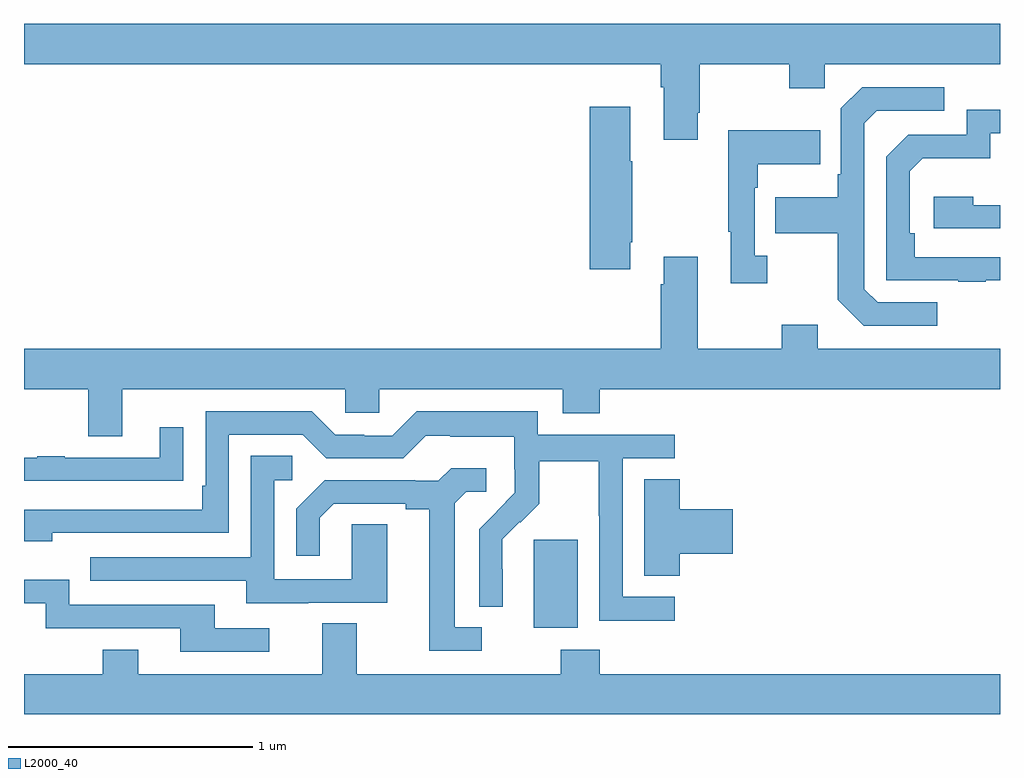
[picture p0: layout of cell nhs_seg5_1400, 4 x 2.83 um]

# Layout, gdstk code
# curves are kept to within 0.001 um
import gdstk
lib = gdstk.Library(unit=1e-6, precision=1e-09)
def R(c, l, rs):  # rectangles x0, y0, x1, y1
    for r in rs: c.add(gdstk.rectangle(r[:2], r[2:], *l))
def P(c, l, *ps):  # polygons
    for p in ps: c.add(gdstk.Polygon(p, *l))
L2000_40 = (2000, 40)

nhs_seg5_1400 = lib.new_cell('nhs_seg5_1400')
R(nhs_seg5_1400, L2000_40, [(197.09,883.754,197.269,884.115)])
P(nhs_seg5_1400, L2000_40, [(195,886.064),(197.609,886.064),(197.609,885.968),(197.621,885.968),(197.621,885.753),(197.761,885.753),(197.761,885.865),(197.769,885.865),(197.769,886.064),(198.136,886.064),(198.136,885.965),(198.282,885.965),(198.282,886.064),(199,886.064),(199,886.228),(195,886.228)],
  [(198.742,885.087),(198.498,885.087),(198.444,885.141),(198.444,885.822),(198.495,885.873),(198.772,885.873),(198.772,885.969),(198.435,885.969),(198.348,885.882),(198.348,885.613),(198.336,885.613),(198.336,885.517),(198.079,885.517),(198.079,885.37),(198.336,885.37),(198.336,885.097),(198.441,884.991),(198.742,884.991)],
  [(197.485,885.334),(197.493,885.334),(197.493,885.665),(197.485,885.665),(197.485,885.889),(197.318,885.889),(197.318,885.222),(197.485,885.222)],
  [(198.941,885.177),(199,885.177),(199,885.273),(198.65,885.273),(198.65,885.37),(198.63,885.37),(198.63,885.624),(198.683,885.677),(198.96,885.677),(198.96,885.78),(199,885.78),(199,885.876),(198.864,885.876),(198.864,885.774),(198.624,885.774),(198.534,885.684),(198.534,885.177),(198.829,885.177),(198.829,885.172),(198.941,885.172)],
  [(198.046,885.278),(197.994,885.278),(197.994,885.557),(198.007,885.557),(198.007,885.653),(198.263,885.653),(198.263,885.793),(197.886,885.793),(197.886,885.377),(197.897,885.377),(197.897,885.165),(198.046,885.165)],
  [(199,885.486),(198.89,885.486),(198.89,885.52),(198.729,885.52),(198.729,885.39),(199,885.39)],
  [(195.403,884.732),(196.317,884.732),(196.317,884.634),(196.455,884.634),(196.455,884.732),(197.207,884.732),(197.207,884.633),(197.36,884.633),(197.36,884.732),(199,884.732),(199,884.896),(198.253,884.896),(198.253,884.995),(198.106,884.995),(198.106,884.896),(197.761,884.896),(197.761,885.274),(197.621,885.274),(197.621,885.161),(197.609,885.161),(197.609,884.896),(195,884.896),(195,884.732),(195.263,884.732),(195.263,884.538),(195.403,884.538)],
  [(197.668,883.881),(197.454,883.881),(197.454,884.448),(197.668,884.448),(197.668,884.544),(197.106,884.544),(197.106,884.641),(196.609,884.641),(196.509,884.541),(196.394,884.541),(196.394,884.544),(196.275,884.544),(196.179,884.64),(195.744,884.64),(195.744,884.335),(195.731,884.335),(195.731,884.238),(195,884.238),(195,884.108),(195.116,884.108),(195.116,884.142),(195.84,884.142),(195.84,884.544),(196.143,884.544),(196.239,884.448),(196.554,884.448),(196.647,884.541),(196.747,884.541),(196.747,884.537),(197.01,884.537),(197.01,884.403),(197.012,884.403),(197.012,884.306),(196.866,884.158),(196.866,883.84),(196.962,883.84),(196.961,884.117),(197.031,884.187),(197.034,884.184),(197.111,884.261),(197.111,884.436),(197.356,884.436),(197.356,884.212),(197.358,884.212),(197.358,883.783),(197.668,883.783)],
  [(195.551,884.356),(195.653,884.356),(195.653,884.575),(195.557,884.575),(195.557,884.451),(195.167,884.451),(195.167,884.456),(195.055,884.456),(195.055,884.451),(195,884.451),(195,884.355),(195.551,884.355)],
  [(196.165,883.857),(196.489,883.857),(196.489,884.177),(196.344,884.177),(196.344,883.953),(196.026,883.953),(196.026,884.358),(196.099,884.358),(196.099,884.459),(195.93,884.459),(195.93,884.043),(195.271,884.043),(195.271,883.947),(195.911,883.947),(195.911,883.853),(196.165,883.853)],
  [(196.876,883.755),(196.765,883.755),(196.765,884.263),(196.812,884.31),(196.894,884.31),(196.894,884.407),(196.75,884.407),(196.698,884.355),(196.604,884.355),(196.604,884.358),(196.232,884.358),(196.116,884.242),(196.116,884.049),(196.213,884.049),(196.213,884.205),(196.27,884.262),(196.565,884.262),(196.565,884.24),(196.661,884.24),(196.661,883.659),(196.876,883.659)],
  [(197.687,884.057),(197.905,884.057),(197.905,884.24),(197.687,884.24),(197.687,884.363),(197.543,884.363),(197.543,883.966),(197.687,883.966)],
  [(196.006,883.752),(195.781,883.752),(195.781,883.848),(195.186,883.848),(195.186,883.951),(195,883.951),(195,883.854),(195.09,883.854),(195.09,883.752),(195.641,883.752),(195.641,883.656),(196.006,883.656)],
  [(199,883.564),(197.36,883.564),(197.36,883.663),(197.2,883.663),(197.2,883.564),(196.363,883.564),(196.363,883.772),(196.223,883.772),(196.223,883.564),(195.469,883.564),(195.469,883.663),(195.322,883.663),(195.322,883.564),(195,883.564),(195,883.4),(199,883.4)])

lib.write_gds('nhs_seg5_1400.gds')
